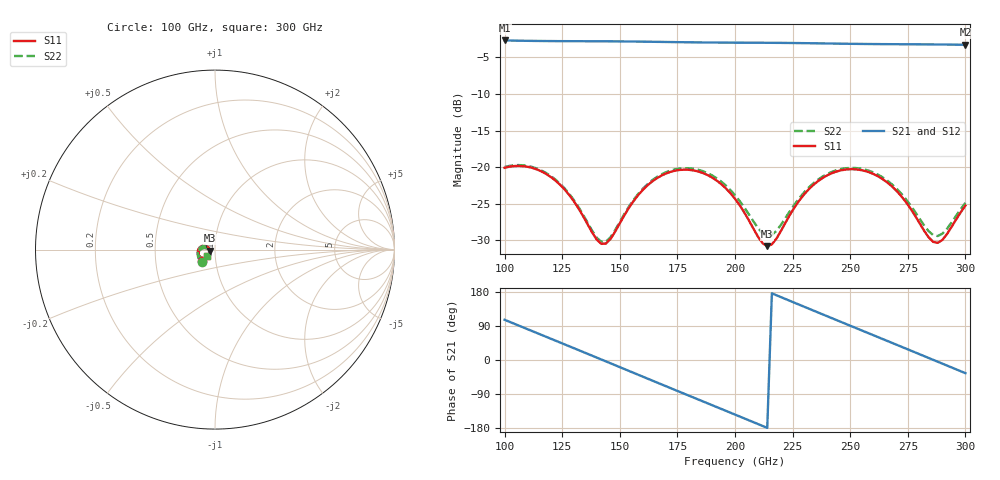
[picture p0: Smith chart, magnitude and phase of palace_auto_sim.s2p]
#  GHZ S DB R 50
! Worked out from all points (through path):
!   101 points, 100 GHz to 300 GHz, reference 50 ohm
!   highest |S21| = -2.67 dB at 100 GHz (marker M1); lowest = -3.3 dB at 300 GHz (marker M2)
!   group delay of S21, straight-line fit = 6.96 ps
!   lowest |S11| = -30.8 dB at 214 GHz (marker M3), VSWR 1.06, Z = 47.3 - j0.615 ohm
!   |S11| at or under -10 dB: start of sweep to end of sweep
!   |S22| runs from -30.2 to -19.7 dB; largest |S21 - S12| = 1.2e-13
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100  -20.08 -139.2  -2.67 106.1  -2.67 106.1  -19.97 -138.0
108  -19.85 -155.1  -2.71 86.2  -2.71 86.2  -19.73 -153.8
116  -20.57 -170.5  -2.74 66.3  -2.74 66.3  -20.45 -169.0
126  -23.02 173.8  -2.77 41.4  -2.77 41.4  -22.88 175.5
134  -26.65 170.5  -2.78 21.4  -2.78 21.4  -26.45 172.5
140  -29.90 -174.4  -2.78 6.3  -2.78 6.3  -29.64 -172.6
144  -30.43 -153.0  -2.79 -3.7  -2.79 -3.7  -30.16 -151.5
156  -24.61 -129.2  -2.82 -33.9  -2.82 -33.9  -24.45 -127.5
168  -21.15 -144.6  -2.87 -64.1  -2.87 -64.1  -20.98 -142.2
176  -20.37 -158.8  -2.91 -84.1  -2.91 -84.1  -20.18 -156.0
184  -20.58 -173.3  -2.94 -104.1  -2.94 -104.1  -20.34 -170.1
200  -24.31 163.7  -2.97 -144.0  -2.97 -144.0  -23.82 168.6
214  -30.79 -167.0  -2.99 -179.1  -2.99 -179.1  -29.38 -166.2
224  -26.42 -134.0  -3.02 155.7  -3.02 155.7  -25.92 -136.4
234  -22.42 -140.5  -3.06 130.6  -3.06 130.6  -22.20 -140.9
250  -20.27 -166.9  -3.13 90.5  -3.13 90.5  -20.09 -165.4
258  -20.66 179.1  -3.16 70.6  -3.16 70.6  -20.46 -178.7
268  -22.58 164.0  -3.18 45.6  -3.18 45.6  -22.31 167.2
278  -26.54 159.0  -3.20 20.6  -3.20 20.6  -26.03 163.4
286  -30.20 -179.0  -3.22 0.5  -3.22 0.5  -29.27 -176.1
290  -29.94 -159.1  -3.23 -9.6  -3.23 -9.6  -29.09 -158.4
300  -25.25 -141.7  -3.26 -34.7  -3.26 -34.7  -24.86 -140.8
